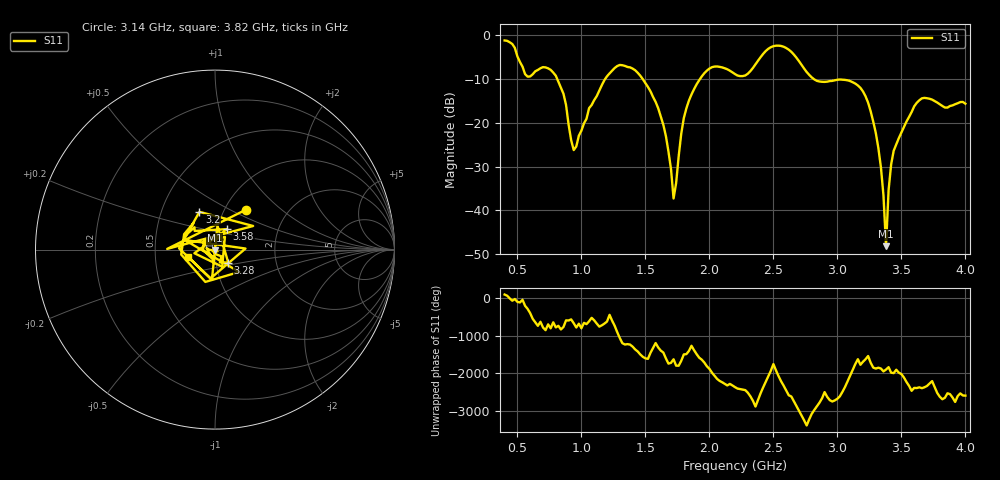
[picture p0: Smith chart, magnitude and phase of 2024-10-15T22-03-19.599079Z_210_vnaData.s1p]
! Created with skrf (http://scikit-rf.org).
# Hz S RI R 50.0
!freq ReS11 ImS11
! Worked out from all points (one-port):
!   181 points, 400 MHz to 4 GHz, reference 50 ohm
!   lowest |S11| = -48.2 dB at 3.38 GHz (marker M1), VSWR 1.01, Z = 50 - j0.387 ohm
!   |S11| at or under -10 dB: 810.8 MHz to 1.186 GHz (375 MHz wide, 37.6 % of centre); 1.478 GHz to 1.927 GHz (448.5 MHz wide, 26.3 % of centre); 2.815 GHz to end of sweep
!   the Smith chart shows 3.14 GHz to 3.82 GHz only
!   S11 on the Smith chart (normalised r, x): 3.14 GHz: 1.25, +0.60; 3.2 GHz: 0.77, +0.34; 3.28 GHz: 1.15, -0.17; 3.58 GHz: 1.11, +0.26; 3.82 GHz: 0.74, -0.06
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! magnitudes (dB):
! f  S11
! 400 MHz  -1.2
! 580 MHz  -9.5
! 740 MHz  -7.6
! 860 MHz  -13.4
! 940 MHz  -26.2
! 1.3 GHz  -6.8
! 1.6 GHz  -16.7
! 1.66 GHz  -23.0
! 1.72 GHz  -37.3
! 1.76 GHz  -27.7
! 1.82 GHz  -16.7
! 1.94 GHz  -9.4
! 2.2 GHz  -8.9
! 2.5 GHz  -2.5
! 2.66 GHz  -4.4
! 2.84 GHz  -10.4
! 3.1 GHz  -10.5
! 3.14 GHz  -11.1
! 3.2 GHz  -12.9
! 3.28 GHz  -19.7
! 3.34 GHz  -30.2
! 3.38 GHz  -48.2
! 3.4 GHz  -35.4
! 3.42 GHz  -29.5
! 3.56 GHz  -18.7
! 3.58 GHz  -17.6
! 3.82 GHz  -16.2
! 4 GHz  -15.7
